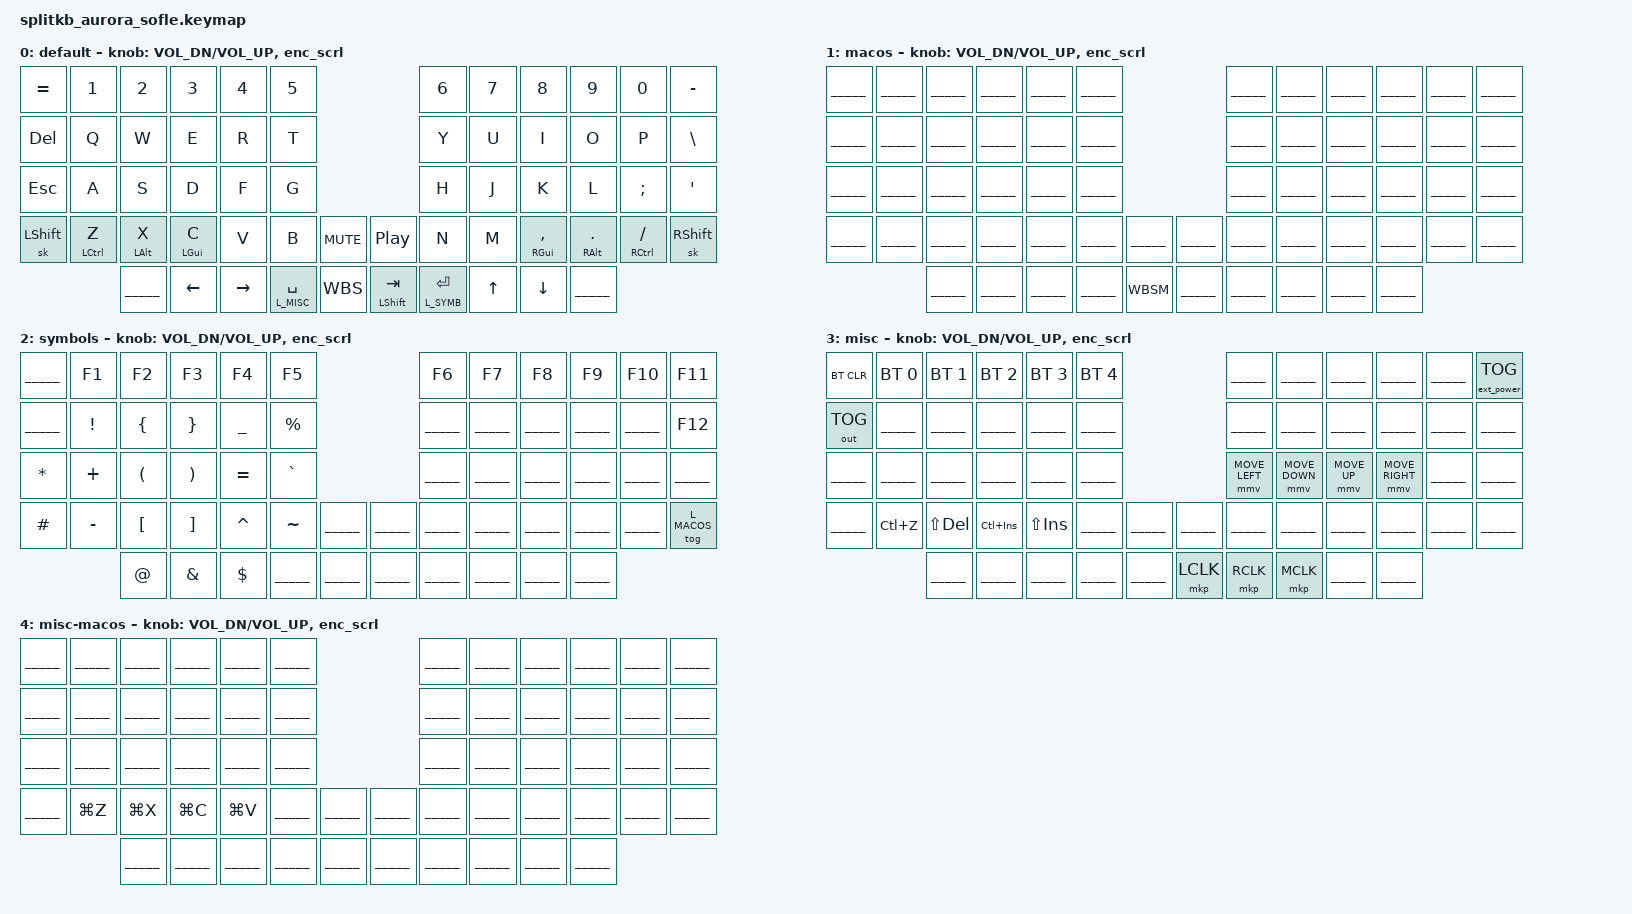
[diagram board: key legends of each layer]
/*
 * Copyright (c) 2023 The ZMK Contributors
 *
 * SPDX-License-Identifier: MIT
 */

#define ZMK_POINTING_DEFAULT_MOVE_VAL 1200

#include <behaviors.dtsi>
#include <dt-bindings/zmk/keys.h>
#include <dt-bindings/zmk/bt.h>
#include <dt-bindings/zmk/ext_power.h>
#include <dt-bindings/zmk/outputs.h>
#include <dt-bindings/zmk/pointing.h>

#define L_MACOS 1
#define L_SYMB 2
#define L_MISC 3
#define L_MACOS_MISC 4

#define _____ trans
#define WBS wbs LSHIFT 0
#define WBSM wbsm LSHIFT 0

#define KEYS_L 0 1 2 3  4  5 12 13 14 15 16 17 24 25 26 27 28 29 36 37 38 39 40 41 42 50 51 52
#define KEYS_R 6 7 8 9 10 11 18 19 20 21 22 23 30 31 32 33 34 35 43 44 45 46 47 48 49 57 58 59
#define THUMBS_L 53 54
#define THUMBS_R 55 56

/ {
    conditional_layers {
        compatible = "zmk,conditional-layers";
        tri_layer {
            if-layers = <L_MACOS L_MISC>;
            then-layer = <L_MACOS_MISC>;
        };
    };

    behaviors {
        hml: homerow_mods_left {
            compatible = "zmk,behavior-hold-tap";
            flavor = "balanced";
            #binding-cells = <2>;
            bindings = <&kp>, <&kp>;
            tapping-term-ms = <280>;
            quick-tap-ms = <175>;
            require-prior-idle-ms = <150>;
            hold-trigger-key-positions = <KEYS_R THUMBS_R THUMBS_L>;
            hold-trigger-on-release;
        };
        hmr: homerow_mods_right {
            compatible = "zmk,behavior-hold-tap";
            flavor = "balanced";
            #binding-cells = <2>;
            bindings = <&kp>, <&kp>;
            tapping-term-ms = <280>;
            quick-tap-ms = <175>;
            require-prior-idle-ms = <150>;
            hold-trigger-key-positions = <KEYS_L THUMBS_R THUMBS_L>;
            hold-trigger-on-release;
        };
        wb: word_backspace {
            compatible = "zmk,behavior-adaptive-key";
            #binding-cells = <0>;
            bindings = <&kp BSPC>;

            bs { trigger-keys = <BSPC>; max-prior-idle-ms = <180>; bindings = <&kp LC(BSPC)>; };
        };
        wbm: word_backspace_macos {
            compatible = "zmk,behavior-adaptive-key";
            #binding-cells = <0>;
            bindings = <&kp BSPC>;

            bs { trigger-keys = <BSPC>; max-prior-idle-ms = <180>; bindings = <&kp LA(BSPC)>; };
        };
        wbs: word_backspace_shift {
            compatible = "zmk,behavior-hold-tap";
            flavor = "balanced";
            #binding-cells = <2>;
            tapping-term-ms = <280>;
            quick-tap-ms = <175>;
            require-prior-idle-ms = <150>;
            hold-trigger-key-positions = <KEYS_R THUMBS_R THUMBS_L>;
            hold-trigger-on-release;
            bindings = <&kp>, <&wb>;
        };
        wbsm: word_backspace_shift_macos {
            compatible = "zmk,behavior-hold-tap";
            flavor = "balanced";
            #binding-cells = <2>;
            tapping-term-ms = <280>;
            quick-tap-ms = <175>;
            require-prior-idle-ms = <150>;
            hold-trigger-key-positions = <KEYS_R THUMBS_R THUMBS_L>;
            hold-trigger-on-release;
            bindings = <&kp>, <&wbm>;
        };
        msc: mouse_scroll {
            compatible = "zmk,behavior-input-two-axis";
            x-input-code = <INPUT_REL_HWHEEL>;
            y-input-code = <INPUT_REL_WHEEL>;
            time-to-max-speed-ms = <20>;
            acceleration-exponent = <0>;
        };
        enc_scrl: encoder_scroll {
            compatible = "zmk,behavior-sensor-rotate";
            #sensor-binding-cells = <0>;
            tap-ms = <150>;
            bindings = <&msc SCRL_DOWN>, <&msc SCRL_UP>;
        };
    };

    keymap {
        compatible = "zmk,keymap";

        default_layer {
            display-name = "default";
// -----------------------------------------------------------------------------------------------------------------------
// | =        | 1      | 2      | 3    | 4     | 5     |                 | 6     | 7  | 8    | 9      | 0      | -       |
// | Del      | Q      | W      | E    | R     | T     |                 | Y     | U  | I    | O      | P      | \       |
// | ESC/CMD  | A      | S      | D    | F     | G     |                 | H     | J  | K    | L      | ;      | ' / Cmd |
// | SHIFT    | Z/Ctrl | X/LAlt | C    | V     | B     |        |  |     | N     | M  | ,    | ./RAlt | //Ctrl | RSHIFT  |
//                     | Lower  | Left | Right | SPACE | BSPACE |  | Tab | Enter | Up | Down | Lower  |
            bindings = <
&kp EQUAL  &kp N1        &kp N2       &kp N3       &kp N4     &kp N5                                            &kp N6          &kp N7  &kp N8           &kp N9         &kp N0           &kp MINUS
&kp DEL    &kp Q         &kp W        &kp E        &kp R      &kp T                                             &kp Y           &kp U   &kp I            &kp O          &kp P            &kp BSLH
&kp ESC    &kp A         &kp S        &kp D        &kp F      &kp G                                             &kp H           &kp J   &kp K            &kp L          &kp SEMI         &kp SQT
&sk LSHFT  &hml LCTRL Z  &hml LALT X  &hml LGUI C  &kp V      &kp B             &kp C_MUTE    &kp C_PLAY_PAUSE  &kp N           &kp M   &hmr RGUI COMMA  &hmr RALT DOT  &hmr RCTRL FSLH  &sk RSHFT
                         &_____       &kp LEFT     &kp RIGHT  &lt L_MISC SPACE  &WBS          &hmr LSHFT TAB    &lt L_SYMB RET  &kp UP  &kp DOWN   &_____
            >;

            sensor-bindings = <&inc_dec_kp C_VOL_DN C_VOL_UP &enc_scrl>;
        };

        macos_layer {
            display-name = "macos";
            bindings = <
&_____  &_____  &_____  &_____  &_____  &_____                      &_____  &_____  &_____  &_____  &_____  &_____
&_____  &_____  &_____  &_____  &_____  &_____                      &_____  &_____  &_____  &_____  &_____  &_____
&_____  &_____  &_____  &_____  &_____  &_____                      &_____  &_____  &_____  &_____  &_____  &_____
&_____  &_____  &_____  &_____  &_____  &_____  &_____      &_____  &_____  &_____  &_____  &_____  &_____  &_____
                &_____  &_____  &_____  &_____  &WBSM       &_____  &_____  &_____  &_____  &_____
            >;

            sensor-bindings = <&inc_dec_kp C_VOL_DN C_VOL_UP &enc_scrl>;
        };

        symbols_layer {
            display-name = "symbols";
// ---------------------------------------------------------------------------------------------------------
// |     |  F1 |  F2 |  F3 |  F4 |  F5 |                   |  F6  |  F7   |  F8   |  F9  |  F10  |  F11  |
// |     |  !  |  {  |  }  |  @  |  %  |                   |      |       |       |      |       |  F12  |
// |  *  |  +  |  (  |  )  |  =  |  `  |                   |      |       |       |      |       |       |
// |  #  |  &  |  [  |  ]  |  ^  |  ~  |        |  |       |      |       |       |      |       |       |
//             |  _  |  -  |  $  |     |        |  |       |      |       |       |      |
            bindings = <
&_____    &kp F1     &kp F2    &kp F3    &kp F4     &kp F5                         &kp F6  &kp F7  &kp F8  &kp F9  &kp F10  &kp F11
&_____    &kp EXCL   &kp LBRC  &kp RBRC  &kp UNDER  &kp PRCNT                      &_____  &_____  &_____  &_____  &_____   &kp F12
&kp STAR  &kp PLUS   &kp LPAR  &kp RPAR  &kp EQUAL  &kp GRAVE                      &_____  &_____  &_____  &_____  &_____   &_____
&kp HASH  &kp MINUS  &kp LBKT  &kp RBKT  &kp CARET  &kp TILDE  &_____    &_____    &_____  &_____  &_____  &_____  &_____   &tog L_MACOS
                     &kp AT    &kp AMPS  &kp DLLR   &_____     &_____    &_____    &_____  &_____  &_____  &_____
            >;

            sensor-bindings = <&inc_dec_kp C_VOL_DN C_VOL_UP &enc_scrl>;
        };

        misc_layer {
            display-name = "misc";
// ------------------------------------------------------------------------------------------------------------
// |       |     |     |      |      |      |                   |      |       |       |      |       |       |
// |   `   |  1  |  2  |  3   |  4   |  5   |                   |  6   |   7   |   8   |  9   |   0   |       |
// |   F1  |  F2 |  F3 |  F4  |  F5  |  F6  |                   |      |   <-  |   v   |  ^   |  ->   |       |
// |   F7  |  F8 |  F9 |  F10 |  F11 |  F12 |        |  |       |  +   |   -   |   =   |  [   |   ]   |   \   |
//               |     |      |      |      |        |  |       |      |       |       |      |
            bindings = <
&bt BT_CLR    &bt BT_SEL 0  &bt BT_SEL 1  &bt BT_SEL 2  &bt BT_SEL 3  &bt BT_SEL 4                       &_____          &_____          &_____        &_____           &_____  &ext_power EP_TOG
&out OUT_TOG  &_____        &_____        &_____        &_____        &_____                             &_____          &_____          &_____        &_____           &_____  &_____
&_____        &_____        &_____        &_____        &_____        &_____                             &mmv MOVE_LEFT  &mmv MOVE_DOWN  &mmv MOVE_UP  &mmv MOVE_RIGHT  &_____  &_____
&_____        &kp LC(Z)     &kp LS(DEL)   &kp LC(INS)   &kp LS(INS)   &_____        &_____    &_____     &_____          &_____          &_____        &_____           &_____  &_____
                            &_____        &_____        &_____        &_____        &_____    &mkp LCLK  &mkp RCLK       &mkp MCLK       &_____        &_____
            >;

            sensor-bindings = <&inc_dec_kp C_VOL_DN C_VOL_UP &enc_scrl>;
        };

        macos_misc_layer {
            display-name = "misc-macos";
            bindings = <
&_____  &_____     &_____     &_____     &_____     &_____                      &_____  &_____  &_____  &_____  &_____  &_____
&_____  &_____     &_____     &_____     &_____     &_____                      &_____  &_____  &_____  &_____  &_____  &_____
&_____  &_____     &_____     &_____     &_____     &_____                      &_____  &_____  &_____  &_____  &_____  &_____
&_____  &kp LG(Z)  &kp LG(X)  &kp LG(C)  &kp LG(V)  &_____  &_____      &_____  &_____  &_____  &_____  &_____  &_____  &_____
                   &_____     &_____     &_____     &_____  &_____      &_____  &_____  &_____  &_____  &_____
            >;

            sensor-bindings = <&inc_dec_kp C_VOL_DN C_VOL_UP &enc_scrl>;
        };
    };
};
